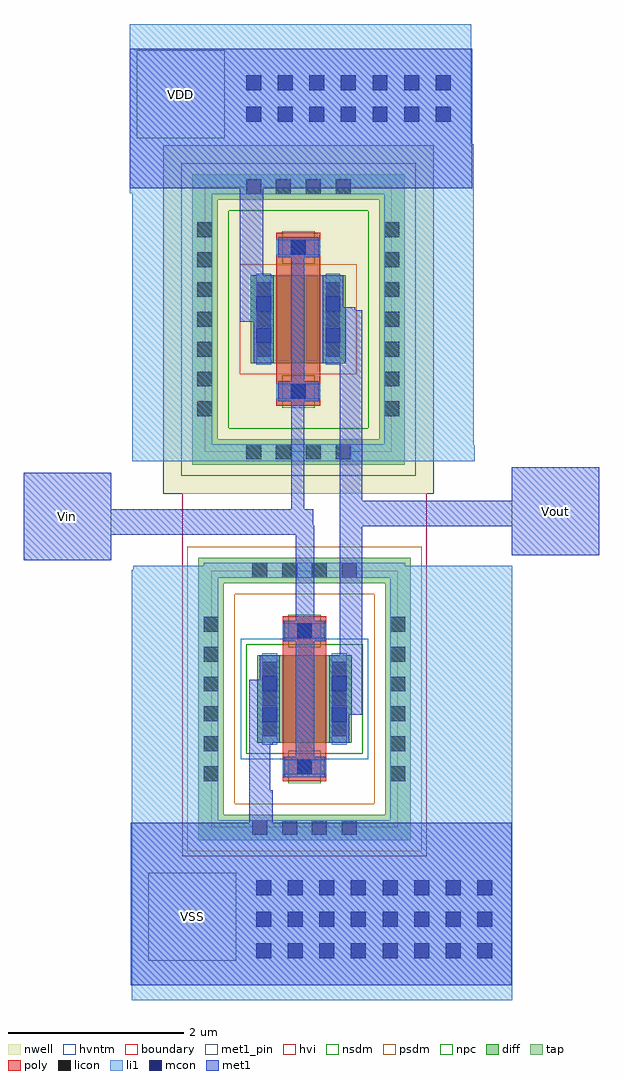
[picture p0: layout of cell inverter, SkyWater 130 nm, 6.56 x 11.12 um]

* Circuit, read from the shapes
.subckt inverter VDD VSS Vin Vout
XM1 Vout Vin VSS VSS sky130_fd_pr__nfet_g5v0d10v5 w=1 l=0.5
XM2 Vout Vin VDD VDD sky130_fd_pr__pfet_g5v0d10v5 w=1 l=0.5
.ends

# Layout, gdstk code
import gdstk
lib = gdstk.Library(unit=1e-6, precision=1e-09)
def R(c, l, rs):  # rectangles x0, y0, x1, y1
    for r in rs: c.add(gdstk.rectangle(r[:2], r[2:], *l))
def A(c, l, x, y, w, h, nx, ny, dx, dy):  # array of equal rectangles
    R(c, l, [(x+i*dx, y+j*dy, x+i*dx+w, y+j*dy+h) for i in range(nx) for j in range(ny)])
nwell = (64, 20)
diff = (65, 20)
tap = (65, 44)
poly = (66, 20)
licon = (66, 44)
li1 = (67, 20)
mcon = (67, 44)
met1_pin = (68, 16)
met1 = (68, 20)
hvi = (75, 20)
nsdm = (93, 44)
psdm = (94, 20)
npc = (95, 20)
hvntm = (125, 20)
boundary = (235, 4)

sky130_fd_pr__pfet_g5v0d = lib.new_cell('sky130_fd_pr__pfet_g5v0d10v5_KLAZY6')
R(sky130_fd_pr__pfet_g5v0d, nwell, [(-1.54,-1.985,1.54,1.985)])
R(sky130_fd_pr__pfet_g5v0d, diff, [(-0.54,-0.5,0.54,0.5)])
R(sky130_fd_pr__pfet_g5v0d, tap, [(-1.21,-1.655,1.21,-1.365), (-1.21,-1.365,-0.92,1.365), (0.92,-1.365,1.21,1.365), (-1.21,1.365,1.21,1.655)])
R(sky130_fd_pr__pfet_g5v0d, poly, [(-0.25,-0.985,0.25,0.985)])
A(sky130_fd_pr__pfet_g5v0d, licon, -0.595, -1.595, 0.17, 0.17, 4, 2, 0.34, 3.02)
A(sky130_fd_pr__pfet_g5v0d, licon, -1.15, -1.105, 0.17, 0.17, 1, 7, 0, 0.34)
A(sky130_fd_pr__pfet_g5v0d, licon, 0.98, -1.105, 0.17, 0.17, 1, 7, 0, 0.34)
A(sky130_fd_pr__pfet_g5v0d, licon, -0.48, -0.425, 0.17, 0.17, 1, 3, 0, 0.34)
A(sky130_fd_pr__pfet_g5v0d, licon, 0.31, -0.425, 0.17, 0.17, 1, 3, 0, 0.34)
R(sky130_fd_pr__pfet_g5v0d, licon, [(-0.085,-0.905,0.085,-0.735), (-0.085,0.735,0.085,0.905)])
R(sky130_fd_pr__pfet_g5v0d, li1, [(-1.15,-1.595,1.15,-1.425), (-1.15,-1.425,-0.98,1.425), (0.98,-1.425,1.15,1.425), (-0.25,-0.905,0.25,-0.735), (-0.48,-0.52,-0.31,0.52), (0.31,-0.52,0.48,0.52), (-0.25,0.735,0.25,0.905), (-1.15,1.425,1.15,1.595)])
R(sky130_fd_pr__pfet_g5v0d, mcon, [(-0.085,-0.905,0.085,-0.735), (-0.48,-0.265,-0.31,-0.095), (0.31,-0.265,0.48,-0.095), (-0.48,0.095,-0.31,0.265), (0.31,0.095,0.48,0.265), (-0.085,0.735,0.085,0.905)])
R(sky130_fd_pr__pfet_g5v0d, met1, [(-0.23,-0.935,0.23,-0.705), (-0.51,-0.5,-0.28,0.5), (0.28,-0.5,0.51,0.5), (-0.23,0.705,0.23,0.935)])
R(sky130_fd_pr__pfet_g5v0d, hvi, [(-1.54,-1.985,1.54,1.985)])
R(sky130_fd_pr__pfet_g5v0d, nsdm, [(-1.335,-1.78,1.335,-1.24), (-1.335,-1.24,-0.795,1.24), (0.795,-1.24,1.335,1.24), (-1.335,1.24,1.335,1.78)])
R(sky130_fd_pr__pfet_g5v0d, psdm, [(-0.665,-0.625,0.665,0.625)])
R(sky130_fd_pr__pfet_g5v0d, npc, [(-0.185,-1.005,0.185,-0.635), (-0.185,0.635,0.185,1.005)])
R(sky130_fd_pr__pfet_g5v0d, boundary, [(-1.065,-1.51,1.065,1.51)])

sky130_fd_pr__nfet_g5v0d = lib.new_cell('sky130_fd_pr__nfet_g5v0d10v5_UNEQ2N')
R(sky130_fd_pr__nfet_g5v0d, diff, [(-0.54,-0.5,0.54,0.5)])
R(sky130_fd_pr__nfet_g5v0d, tap, [(-1.21,-1.61,1.21,-1.32), (-1.21,-1.32,-0.92,1.32), (0.92,-1.32,1.21,1.32), (-1.21,1.32,1.21,1.61)])
R(sky130_fd_pr__nfet_g5v0d, poly, [(-0.25,-0.94,0.25,0.94)])
A(sky130_fd_pr__nfet_g5v0d, licon, -0.595, -1.55, 0.17, 0.17, 4, 2, 0.34, 2.93)
A(sky130_fd_pr__nfet_g5v0d, licon, -1.15, -0.935, 0.17, 0.17, 1, 6, 0, 0.34)
A(sky130_fd_pr__nfet_g5v0d, licon, 0.98, -0.935, 0.17, 0.17, 1, 6, 0, 0.34)
A(sky130_fd_pr__nfet_g5v0d, licon, -0.48, -0.425, 0.17, 0.17, 1, 3, 0, 0.34)
A(sky130_fd_pr__nfet_g5v0d, licon, 0.31, -0.425, 0.17, 0.17, 1, 3, 0, 0.34)
R(sky130_fd_pr__nfet_g5v0d, licon, [(-0.085,-0.86,0.085,-0.69), (-0.085,0.69,0.085,0.86)])
R(sky130_fd_pr__nfet_g5v0d, li1, [(-1.15,-1.55,1.15,-1.38), (-1.15,-1.38,-0.98,1.38), (0.98,-1.38,1.15,1.38), (-0.25,-0.86,0.25,-0.69), (-0.48,-0.52,-0.31,0.52), (0.31,-0.52,0.48,0.52), (-0.25,0.69,0.25,0.86), (-1.15,1.38,1.15,1.55)])
R(sky130_fd_pr__nfet_g5v0d, mcon, [(-0.085,-0.86,0.085,-0.69), (-0.48,-0.265,-0.31,-0.095), (0.31,-0.265,0.48,-0.095), (-0.48,0.095,-0.31,0.265), (0.31,0.095,0.48,0.265), (-0.085,0.69,0.085,0.86)])
R(sky130_fd_pr__nfet_g5v0d, met1, [(-0.23,-0.89,0.23,-0.66), (-0.51,-0.5,-0.28,0.5), (0.28,-0.5,0.51,0.5), (-0.23,0.66,0.23,0.89)])
R(sky130_fd_pr__nfet_g5v0d, hvi, [(-1.395,-1.795,1.395,1.795)])
R(sky130_fd_pr__nfet_g5v0d, nsdm, [(-0.665,-0.625,0.665,0.625)])
R(sky130_fd_pr__nfet_g5v0d, psdm, [(-1.335,-1.735,1.335,-1.195), (-1.335,-1.195,-0.795,1.195), (0.795,-1.195,1.335,1.195), (-1.335,1.195,1.335,1.735)])
R(sky130_fd_pr__nfet_g5v0d, npc, [(-0.185,-0.96,0.185,-0.59), (-0.185,0.59,0.185,0.96)])
R(sky130_fd_pr__nfet_g5v0d, hvntm, [(-0.725,-0.685,0.725,0.685)])
R(sky130_fd_pr__nfet_g5v0d, boundary, [(-1.06,-1.46,1.06,1.46)])

inverter = lib.new_cell('inverter')
R(inverter, li1, [(3.66,-3.92,8,-1.93), (3.66,-1.93,4.57,0.91), (6.71,-1.93,8,0.91), (3.66,0.91,8,0.98), (3.68,0.98,8,1.03), (3.67,2.22,7.57,2.4), (3.67,2.4,4.53,5.27), (6.64,2.4,7.56,5.27), (3.64,5.27,7.56,5.83), (3.64,5.83,7.53,7.2)])
A(inverter, mcon, 5.08, -3.445, 0.17, 0.17, 8, 3, 0.36, 0.36)
A(inverter, mcon, 4.965, 6.085, 0.17, 0.17, 7, 2, 0.36, 0.36)
R(inverter, met1_pin, [(3.85,-3.47,4.85,-2.47), (2.43,1.09,3.43,2.09), (7.99,1.15,8.99,2.15), (3.72,5.9,4.72,6.9)])
R(inverter, met1, [(3.65,-3.75,7.99,-1.9), (5,-1.9,5.27,-1.53), (5,-1.53,5.24,-1.01), (5.53,-1.33,5.74,1.38), (5,-1.01,5.27,-0.27), (6.03,-0.67,6.29,1.48), (2.43,1.09,3.43,1.38), (7.99,1.15,8.99,1.48), (2.43,1.38,5.74,1.49), (6.03,1.48,8.99,1.77), (2.43,1.49,5.73,1.67), (2.43,1.67,3.43,2.09), (5.48,1.67,5.63,4.68), (6.03,1.77,6.29,3.44), (7.99,1.77,8.99,2.15), (5.95,3.44,6.29,3.94), (4.89,3.81,5.16,5.33), (5.95,3.94,6.21,3.97), (3.64,5.33,7.54,6.92)])
R(inverter, hvi, [(4.235,1.305,7.025,1.85)])
inverter.add(gdstk.Reference(sky130_fd_pr__pfet_g5v0d, (5.56,3.835)))
inverter.add(gdstk.Reference(sky130_fd_pr__nfet_g5v0d, (5.63,-0.49)))
inverter.add(gdstk.Label('Vout', (8.49,1.65), layer=68, texttype=5))
inverter.add(gdstk.Label('Vin', (2.93,1.59), layer=68, texttype=5))
inverter.add(gdstk.Label('VSS', (4.35,-2.97), layer=68, texttype=5))
inverter.add(gdstk.Label('VDD', (4.22,6.4), layer=68, texttype=5))

lib.write_gds('inverter.gds')
